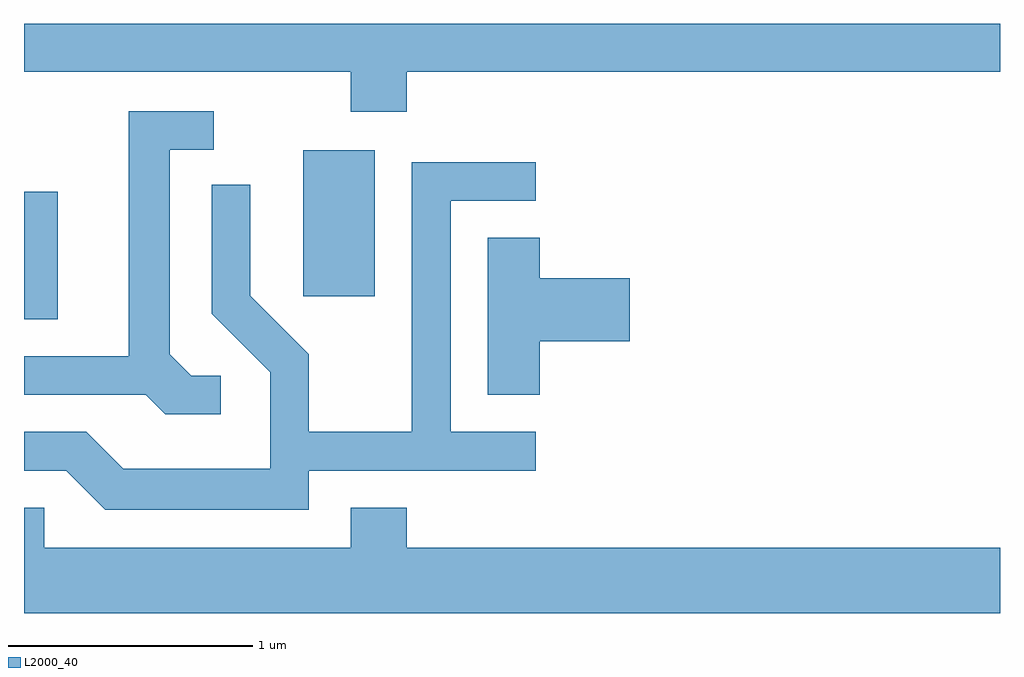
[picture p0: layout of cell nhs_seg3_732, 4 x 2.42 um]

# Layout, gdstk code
import gdstk
lib = gdstk.Library(unit=1e-6, precision=1e-09)
def R(c, l, rs):  # rectangles x0, y0, x1, y1
    for r in rs: c.add(gdstk.rectangle(r[:2], r[2:], *l))
def P(c, l, *ps):  # polygons
    for p in ps: c.add(gdstk.Polygon(p, *l))
L2000_40 = (2000, 40)

nhs_seg3_732 = lib.new_cell('nhs_seg3_732')
R(nhs_seg3_732, L2000_40, [(205.611,1222.681,205.749,1223.204), (206.756,1222.776,207.049,1223.374)])
P(nhs_seg3_732, L2000_40, [(207.179,1223.696),(209.611,1223.696),(209.611,1223.892),(205.611,1223.892),(205.611,1223.696),(206.951,1223.696),(206.951,1223.531),(207.179,1223.531)],
  [(206.418,1222.449),(206.297,1222.449),(206.209,1222.537),(206.209,1223.376),(206.388,1223.376),(206.388,1223.534),(206.041,1223.534),(206.041,1222.529),(205.611,1222.529),(205.611,1222.371),(206.109,1222.371),(206.189,1222.291),(206.418,1222.291)],
  [(206.779,1222.061),(207.708,1222.061),(207.708,1222.219),(207.359,1222.219),(207.359,1223.166),(207.708,1223.166),(207.708,1223.324),(207.201,1223.324),(207.201,1222.219),(206.779,1222.219),(206.779,1222.537),(206.539,1222.777),(206.539,1223.233),(206.381,1223.233),(206.381,1222.704),(206.621,1222.464),(206.621,1222.069),(206.017,1222.069),(205.867,1222.219),(205.611,1222.219),(205.611,1222.061),(205.784,1222.061),(205.944,1221.901),(206.779,1221.901)],
  [(207.724,1222.591),(208.094,1222.591),(208.094,1222.849),(207.724,1222.849),(207.724,1223.014),(207.511,1223.014),(207.511,1222.371),(207.724,1222.371)],
  [(209.611,1221.744),(207.179,1221.744),(207.179,1221.909),(206.951,1221.909),(206.951,1221.744),(205.694,1221.744),(205.694,1221.909),(205.611,1221.909),(205.611,1221.476),(209.611,1221.476)])

lib.write_gds('nhs_seg3_732.gds')
